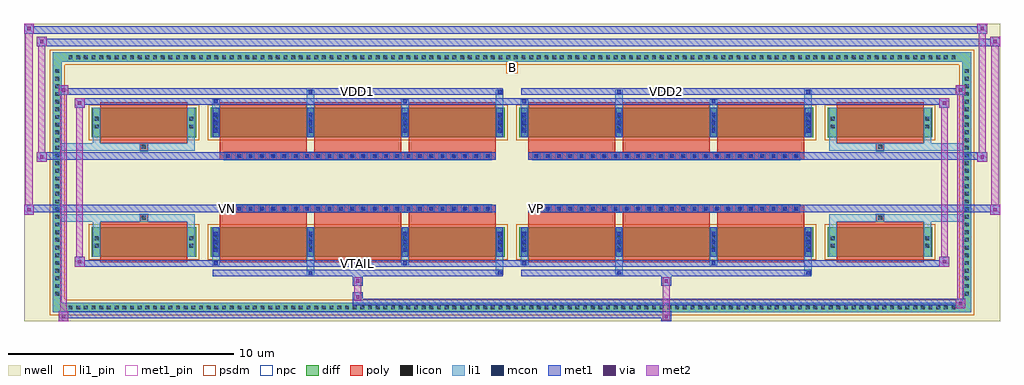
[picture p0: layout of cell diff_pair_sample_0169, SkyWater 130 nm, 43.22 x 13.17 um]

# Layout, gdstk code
import gdstk
lib = gdstk.Library(unit=1e-6, precision=5e-09)
def R(c, l, rs):  # rectangles x0, y0, x1, y1
    for r in rs: c.add(gdstk.rectangle(r[:2], r[2:], *l))
def A(c, l, x, y, w, h, nx, ny, dx, dy):  # array of equal rectangles
    R(c, l, [(x+i*dx, y+j*dy, x+i*dx+w, y+j*dy+h) for i in range(nx) for j in range(ny)])
def P(c, l, *ps):  # polygons
    for p in ps: c.add(gdstk.Polygon(p, *l))
nwell = (64, 20)
diff = (65, 20)
poly = (66, 20)
licon = (66, 44)
li1_pin = (67, 16)
li1 = (67, 20)
mcon = (67, 44)
met1_pin = (68, 16)
met1 = (68, 20)
via = (68, 44)
met2 = (69, 20)
psdm = (94, 20)
npc = (95, 20)

diff_pair_sample_0169 = lib.new_cell('diff_pair_sample_0169')
R(diff_pair_sample_0169, nwell, [(-21.61,-6.15,21.61,7.02), (-18.93,-4.34,-0.01,-0.8), (0.01,-4.34,18.93,-0.8), (-18.93,0.8,-0.01,4.34), (0.01,0.8,18.93,4.34)])
A(diff_pair_sample_0169, diff, -19.755, -5.75, 0.41, 0.41, 116, 2, 0.34, 11.09)
A(diff_pair_sample_0169, diff, -20.34, -5.135, 0.41, 0.41, 1, 30, 0, 0.34)
A(diff_pair_sample_0169, diff, 19.93, -5.135, 0.41, 0.41, 1, 30, 0, 0.34)
R(diff_pair_sample_0169, diff, [(-19.755,-5.75,19.755,-5.34), (-20.34,-5.135,-19.93,5.135), (19.93,-5.135,20.34,5.135), (-18.62,-3.295,-13.98,-1.985), (-13.34,-3.295,-0.32,-1.985), (0.32,-3.295,13.34,-1.985), (13.98,-3.295,18.62,-1.985), (-18.62,1.985,-13.98,3.295), (-13.34,1.985,-0.32,3.295), (0.32,1.985,13.34,3.295), (13.98,1.985,18.62,3.295), (-19.755,5.34,19.755,5.75)])
P(diff_pair_sample_0169, diff, [(20.34,5.75),(-20.34,5.75),(-20.34,-5.34),(-19.93,-5.34),(-19.93,5.34),(19.93,5.34),(19.93,-5.34),(-19.93,-5.34),(-20.34,-5.34),(-20.34,-5.75),(20.34,-5.75)])
A(diff_pair_sample_0169, poly, -12.95, -3.545, 3.86, 1.81, 3, 2, 4.19, 5.28)
A(diff_pair_sample_0169, poly, 0.71, -3.545, 3.86, 1.81, 3, 2, 4.19, 5.28)
A(diff_pair_sample_0169, poly, -12.95, -1.735, 3.86, 0.405, 3, 2, 4.19, 3.065)
A(diff_pair_sample_0169, poly, 0.71, -1.735, 3.86, 0.405, 3, 2, 4.19, 3.065)
A(diff_pair_sample_0169, poly, -12.745, -1.33, 0.33, 0.33, 24, 2, 0.5, 2.33)
A(diff_pair_sample_0169, poly, 0.915, -1.33, 0.33, 0.33, 24, 2, 0.5, 2.33)
R(diff_pair_sample_0169, poly, [(-18.23,-3.545,-14.37,-1.735), (14.37,-3.545,18.23,-1.735), (-16.465,-1.735,-16.135,-1.405), (-16.465,-1.735,-16.135,-1.405), (16.135,-1.735,16.465,-1.405), (16.135,-1.735,16.465,-1.405), (-12.95,-1.33,-0.71,-1), (0.71,-1.33,12.95,-1), (-12.95,1,-0.71,1.33), (0.71,1,12.95,1.33), (-16.465,1.405,-16.135,1.735), (-16.465,1.405,-16.135,1.735), (16.135,1.405,16.465,1.735), (16.135,1.405,16.465,1.735), (-18.23,1.735,-14.37,3.545), (14.37,1.735,18.23,3.545)])
A(diff_pair_sample_0169, licon, -19.635, -5.63, 0.17, 0.17, 116, 2, 0.34, 11.09)
A(diff_pair_sample_0169, licon, -20.22, -5.015, 0.17, 0.17, 1, 30, 0, 0.34)
A(diff_pair_sample_0169, licon, 20.05, -5.015, 0.17, 0.17, 1, 30, 0, 0.34)
A(diff_pair_sample_0169, licon, -13.2, -2.895, 0.17, 0.17, 4, 2, 4.19, 0.34)
A(diff_pair_sample_0169, licon, 0.46, -2.895, 0.17, 0.17, 4, 2, 4.19, 0.34)
A(diff_pair_sample_0169, licon, -12.665, -1.25, 0.17, 0.17, 24, 2, 0.5, 2.33)
A(diff_pair_sample_0169, licon, 0.995, -1.25, 0.17, 0.17, 24, 2, 0.5, 2.33)
A(diff_pair_sample_0169, licon, -13.2, 2.385, 0.17, 0.17, 4, 2, 4.19, 0.34)
A(diff_pair_sample_0169, licon, 0.46, 2.385, 0.17, 0.17, 4, 2, 4.19, 0.34)
R(diff_pair_sample_0169, licon, [(-18.48,-2.895,-18.31,-2.725), (-14.29,-2.895,-14.12,-2.725), (14.12,-2.895,14.29,-2.725), (18.31,-2.895,18.48,-2.725), (-18.48,-2.555,-18.31,-2.385), (-14.29,-2.555,-14.12,-2.385), (14.12,-2.555,14.29,-2.385), (18.31,-2.555,18.48,-2.385), (-16.385,-1.655,-16.215,-1.485), (16.215,-1.655,16.385,-1.485), (-16.385,1.485,-16.215,1.655), (16.215,1.485,16.385,1.655), (-18.48,2.385,-18.31,2.555), (-14.29,2.385,-14.12,2.555), (14.12,2.385,14.29,2.555), (18.31,2.385,18.48,2.555), (-18.48,2.725,-18.31,2.895), (-14.29,2.725,-14.12,2.895), (14.12,2.725,14.29,2.895), (18.31,2.725,18.48,2.895)])
R(diff_pair_sample_0169, li1_pin, [(-0.25,4.84,0.25,5.34)])
A(diff_pair_sample_0169, li1, -19.715, -5.71, 0.33, 0.33, 116, 2, 0.34, 11.09)
A(diff_pair_sample_0169, li1, -20.3, -5.095, 0.33, 0.33, 1, 30, 0, 0.34)
A(diff_pair_sample_0169, li1, 19.97, -5.095, 0.33, 0.33, 1, 30, 0, 0.34)
A(diff_pair_sample_0169, li1, -13.28, -3.295, 0.33, 1.31, 4, 2, 4.19, 5.28)
A(diff_pair_sample_0169, li1, 0.38, -3.295, 0.33, 1.31, 4, 2, 4.19, 5.28)
A(diff_pair_sample_0169, li1, -13.2, -3.085, 0.17, 0.17, 4, 3, 4.19, 0.36)
A(diff_pair_sample_0169, li1, -13.2, -3.085, 0.17, 0.89, 4, 2, 4.19, 5.28)
A(diff_pair_sample_0169, li1, 0.46, -3.085, 0.17, 0.17, 4, 3, 4.19, 0.36)
A(diff_pair_sample_0169, li1, 0.46, -3.085, 0.17, 0.89, 4, 2, 4.19, 5.28)
A(diff_pair_sample_0169, li1, -13.28, -2.975, 0.33, 0.33, 4, 2, 4.19, 0.34)
A(diff_pair_sample_0169, li1, 0.38, -2.975, 0.33, 0.33, 4, 2, 4.19, 0.34)
A(diff_pair_sample_0169, li1, -12.745, -1.33, 0.33, 0.33, 24, 2, 0.5, 2.33)
A(diff_pair_sample_0169, li1, 0.915, -1.33, 0.33, 0.33, 24, 2, 0.5, 2.33)
A(diff_pair_sample_0169, li1, -13.2, 2.195, 0.17, 0.17, 4, 3, 4.19, 0.36)
A(diff_pair_sample_0169, li1, 0.46, 2.195, 0.17, 0.17, 4, 3, 4.19, 0.36)
A(diff_pair_sample_0169, li1, -13.28, 2.305, 0.33, 0.33, 4, 2, 4.19, 0.34)
A(diff_pair_sample_0169, li1, 0.38, 2.305, 0.33, 0.33, 4, 2, 4.19, 0.34)
R(diff_pair_sample_0169, li1, [(-20.34,-5.75,-19.93,-5.34), (-20.34,-5.75,-19.93,-5.34), (-19.93,-5.75,19.93,-5.34), (19.93,-5.75,20.34,-5.34), (19.93,-5.75,20.34,-5.34), (-20.34,-5.34,-19.93,5.34), (19.93,-5.34,20.34,5.34), (-9.09,-4.1,-8.76,-3.295), (-9.01,-4.1,-8.84,-3.93), (-0.71,-4.1,-0.38,-3.295), (-0.63,-4.1,-0.46,-3.93), (4.57,-4.1,4.9,-3.295), (4.65,-4.1,4.82,-3.93), (12.95,-4.1,13.28,-3.295), (13.03,-4.1,13.2,-3.93), (-13.28,-3.67,-12.95,-3.295), (-13.2,-3.67,-13.03,-3.5), (-4.9,-3.67,-4.57,-3.295), (-4.82,-3.67,-4.65,-3.5), (0.38,-3.67,0.71,-3.295), (0.46,-3.67,0.63,-3.5), (8.76,-3.67,9.09,-3.295), (8.84,-3.67,9.01,-3.5), (-18.56,-3.295,-18.23,-1.985), (-14.37,-3.295,-14.04,-1.985), (14.04,-3.295,14.37,-1.985), (18.23,-3.295,18.56,-1.985), (-18.56,-2.975,-18.23,-2.645), (-14.37,-2.975,-14.04,-2.645), (14.04,-2.975,14.37,-2.645), (18.23,-2.975,18.56,-2.645), (-18.56,-2.635,-18.23,-2.305), (-14.37,-2.635,-14.04,-2.305), (14.04,-2.635,14.37,-2.305), (18.23,-2.635,18.56,-2.305), (-18.56,-1.985,-18.23,-1.405), (-14.37,-1.985,-14.04,-1.405), (14.04,-1.985,14.37,-1.405), (18.23,-1.985,18.56,-1.405), (-20.34,-1.735,-16.465,-1.405), (-18.56,-1.735,-16.465,-1.405), (-16.465,-1.735,-16.135,-1.405), (-16.135,-1.735,-14.04,-1.405), (14.04,-1.735,16.135,-1.405), (16.135,-1.735,16.465,-1.405), (16.135,-1.735,20.34,-1.405), (16.465,-1.735,18.56,-1.405), (-20.34,1.405,-16.465,1.735), (-18.56,1.405,-16.465,1.735), (-18.56,1.405,-18.23,1.985), (-16.465,1.405,-16.135,1.735), (-16.135,1.405,-14.04,1.735), (-14.37,1.405,-14.04,1.985), (14.04,1.405,16.135,1.735), (14.04,1.405,14.37,1.985), (16.135,1.405,16.465,1.735), (16.135,1.405,20.34,1.735), (16.465,1.405,18.56,1.735), (18.23,1.405,18.56,1.985), (-18.56,1.985,-18.23,3.295), (-14.37,1.985,-14.04,3.295), (14.04,1.985,14.37,3.295), (18.23,1.985,18.56,3.295), (-18.56,2.305,-18.23,2.635), (-14.37,2.305,-14.04,2.635), (14.04,2.305,14.37,2.635), (18.23,2.305,18.56,2.635), (-18.56,2.645,-18.23,2.975), (-14.37,2.645,-14.04,2.975), (14.04,2.645,14.37,2.975), (18.23,2.645,18.56,2.975), (-13.28,3.295,-12.95,3.67), (-9.09,3.295,-8.76,4.1), (-4.9,3.295,-4.57,3.67), (-0.71,3.295,-0.38,4.1), (0.38,3.295,0.71,3.67), (4.57,3.295,4.9,4.1), (8.76,3.295,9.09,3.67), (12.95,3.295,13.28,4.1), (-13.2,3.5,-13.03,3.67), (-4.82,3.5,-4.65,3.67), (0.46,3.5,0.63,3.67), (8.84,3.5,9.01,3.67), (-9.01,3.93,-8.84,4.1), (-0.63,3.93,-0.46,4.1), (4.65,3.93,4.82,4.1), (13.03,3.93,13.2,4.1), (-20.34,5.34,-19.93,5.75), (-20.34,5.34,-19.93,5.75), (-19.93,5.34,19.93,5.75), (19.93,5.34,20.34,5.75), (19.93,5.34,20.34,5.75)])
A(diff_pair_sample_0169, mcon, -13.2, -3.085, 0.17, 0.17, 4, 3, 4.19, 0.36)
A(diff_pair_sample_0169, mcon, 0.46, -3.085, 0.17, 0.17, 4, 3, 4.19, 0.36)
A(diff_pair_sample_0169, mcon, -12.665, -1.25, 0.17, 0.17, 24, 2, 0.5, 2.33)
A(diff_pair_sample_0169, mcon, 0.995, -1.25, 0.17, 0.17, 24, 2, 0.5, 2.33)
A(diff_pair_sample_0169, mcon, -13.2, 2.195, 0.17, 0.17, 4, 3, 4.19, 0.36)
A(diff_pair_sample_0169, mcon, 0.46, 2.195, 0.17, 0.17, 4, 3, 4.19, 0.36)
R(diff_pair_sample_0169, mcon, [(-9.01,-4.1,-8.84,-3.93), (-0.63,-4.1,-0.46,-3.93), (4.65,-4.1,4.82,-3.93), (13.03,-4.1,13.2,-3.93), (-13.2,-3.67,-13.03,-3.5), (-4.82,-3.67,-4.65,-3.5), (0.46,-3.67,0.63,-3.5), (8.84,-3.67,9.01,-3.5), (-13.2,3.5,-13.03,3.67), (-4.82,3.5,-4.65,3.67), (0.46,3.5,0.63,3.67), (8.84,3.5,9.01,3.67), (-9.01,3.93,-8.84,4.1), (-0.63,3.93,-0.46,4.1), (4.65,3.93,4.82,4.1), (13.03,3.93,13.2,4.1)])
R(diff_pair_sample_0169, met1_pin, [(-6.965,-3.71,-6.695,-3.44), (-12.715,-1.29,-12.445,-1.02), (0.945,-1.29,1.215,-1.02), (-6.965,3.89,-6.695,4.16), (6.695,3.89,6.965,4.16)])
A(diff_pair_sample_0169, met1, -13.26, -3.295, 0.29, 1.31, 4, 2, 4.19, 5.28)
A(diff_pair_sample_0169, met1, 0.4, -3.295, 0.29, 1.31, 4, 2, 4.19, 5.28)
A(diff_pair_sample_0169, met1, -13.26, -3.145, 0.29, 0.29, 4, 3, 4.19, 0.36)
A(diff_pair_sample_0169, met1, 0.4, -3.145, 0.29, 0.29, 4, 3, 4.19, 0.36)
A(diff_pair_sample_0169, met1, -12.725, -1.31, 0.29, 0.29, 24, 2, 0.5, 2.33)
A(diff_pair_sample_0169, met1, 0.935, -1.31, 0.29, 0.29, 24, 2, 0.5, 2.33)
A(diff_pair_sample_0169, met1, -13.26, 2.135, 0.29, 0.29, 4, 3, 4.19, 0.36)
A(diff_pair_sample_0169, met1, 0.4, 2.135, 0.29, 0.29, 4, 3, 4.19, 0.36)
R(diff_pair_sample_0169, met1, [(-20.07,-6.15,-19.64,-5.72), (6.615,-6.15,7.045,-5.72), (-20.07,-6.01,7.045,-5.72), (19.64,-5.58,20.07,-5.15), (-7.045,-5.44,20.07,-5.15), (-7.045,-5.3,-6.615,-4.87), (-7.045,-4.59,-6.615,-4.16), (6.615,-4.59,7.045,-4.16), (-13.26,-4.16,-0.4,-3.87), (-9.07,-4.16,-8.78,-3.87), (-0.69,-4.16,-0.4,-3.87), (0.4,-4.16,13.26,-3.87), (4.59,-4.16,4.88,-3.87), (12.97,-4.16,13.26,-3.87), (-19.36,-3.73,-18.93,-3.3), (-19.36,-3.73,-13.26,-3.44), (-13.26,-3.73,-12.97,-3.44), (-13.26,-3.73,-0.4,-3.44), (-4.88,-3.73,-4.59,-3.44), (-0.4,-3.73,0.4,-3.44), (0.4,-3.73,0.69,-3.44), (0.4,-3.73,13.26,-3.44), (8.78,-3.73,9.07,-3.44), (13.26,-3.73,19.36,-3.44), (18.93,-3.73,19.36,-3.3), (-21.61,-1.43,-21.18,-1), (21.18,-1.43,21.61,-1), (-21.61,-1.33,-0.71,-1), (-12.95,-1.33,-0.71,-1), (0.71,-1.33,12.95,-1), (0.71,-1.33,21.61,-1), (-21.04,0.9,-20.61,1.33), (20.61,0.9,21.04,1.33), (-21.04,1,-12.95,1.33), (-12.95,1,-0.71,1.33), (0.71,1,12.95,1.33), (12.95,1,21.04,1.33), (-19.36,3.3,-18.93,3.73), (18.93,3.3,19.36,3.73), (-19.36,3.44,-13.26,3.73), (-13.26,3.44,-12.97,3.73), (-13.26,3.44,-0.4,3.73), (-4.88,3.44,-4.59,3.73), (-0.4,3.44,0.4,3.73), (0.4,3.44,0.69,3.73), (0.4,3.44,13.26,3.73), (8.78,3.44,9.07,3.73), (13.26,3.44,19.36,3.73), (-20.07,3.87,-19.64,4.3), (-20.07,3.87,-13.26,4.16), (-13.26,3.87,-0.4,4.16), (-9.07,3.87,-8.78,4.16), (-0.69,3.87,-0.4,4.16), (0.4,3.87,13.26,4.16), (4.59,3.87,4.88,4.16), (12.97,3.87,13.26,4.16), (13.26,3.87,20.07,4.16), (19.64,3.87,20.07,4.3), (-21.04,6.02,-20.61,6.45), (-21.04,6.02,-18.93,6.35), (-18.93,6.02,18.93,6.35), (18.93,6.02,21.61,6.35), (21.18,6.02,21.61,6.45), (-21.61,6.59,-21.18,7.02), (-21.61,6.59,-18.93,6.92), (-18.93,6.59,18.93,6.92), (18.93,6.59,21.04,6.92), (20.61,6.59,21.04,7.02)])
R(diff_pair_sample_0169, via, [(-19.93,-6.01,-19.78,-5.86), (6.755,-6.01,6.905,-5.86), (19.78,-5.44,19.93,-5.29), (-6.905,-5.16,-6.755,-5.01), (-6.905,-4.45,-6.755,-4.3), (6.755,-4.45,6.905,-4.3), (-19.22,-3.59,-19.07,-3.44), (19.07,-3.59,19.22,-3.44), (-21.47,-1.29,-21.32,-1.14), (21.32,-1.29,21.47,-1.14), (-20.9,1.04,-20.75,1.19), (20.75,1.04,20.9,1.19), (-19.22,3.44,-19.07,3.59), (19.07,3.44,19.22,3.59), (-19.93,4.01,-19.78,4.16), (19.78,4.01,19.93,4.16), (-20.9,6.16,-20.75,6.31), (21.32,6.16,21.47,6.31), (-21.47,6.73,-21.32,6.88), (20.75,6.73,20.9,6.88)])
R(diff_pair_sample_0169, met2, [(-20.07,-6.15,-19.64,-5.72), (-20,-6.15,-19.71,4.3), (-19.71,-6.15,-19.64,-5.72), (-20.02,-6.1,-19.69,-5.77), (6.665,-6.1,6.995,-5.77), (6.665,-5.77,6.995,-4.54), (19.64,-5.58,20.07,-5.15), (19.71,-5.58,20,4.3), (20,-5.58,20.07,-5.15), (19.69,-5.53,20.02,-5.2), (-6.995,-5.25,-6.665,-4.92), (-6.995,-4.92,-6.665,-4.54), (-6.995,-4.54,-6.665,-4.21), (6.665,-4.54,6.995,-4.21), (-19.36,-3.73,-18.93,-3.3), (-19.29,-3.73,-19,3.73), (-19,-3.73,-18.93,-3.3), (18.93,-3.73,19.36,-3.3), (19,-3.73,19.29,3.73), (19.29,-3.73,19.36,-3.3), (-19.31,-3.68,-18.98,-3.35), (18.98,-3.68,19.31,-3.35), (-21.61,-1.43,-21.18,-1), (-21.56,-1.43,-21.23,7.02), (-21.23,-1.43,-21.18,-1), (21.18,-1.43,21.61,-1), (21.23,-1.43,21.56,6.45), (21.56,-1.43,21.61,-1), (-21.56,-1.38,-21.23,-1.05), (21.23,-1.38,21.56,-1.05), (-21.04,0.9,-20.61,1.33), (-20.99,0.9,-20.66,6.45), (-20.66,0.9,-20.61,1.33), (20.61,0.9,21.04,1.33), (20.66,0.9,20.99,7.02), (20.99,0.9,21.04,1.33), (-20.99,0.95,-20.66,1.28), (20.66,0.95,20.99,1.28), (-19.36,3.3,-18.93,3.73), (-19,3.3,-18.93,3.73), (18.93,3.3,19.36,3.73), (19.29,3.3,19.36,3.73), (-19.31,3.35,-18.98,3.68), (18.98,3.35,19.31,3.68), (-20.07,3.87,-19.64,4.3), (-19.71,3.87,-19.64,4.3), (19.64,3.87,20.07,4.3), (20,3.87,20.07,4.3), (-20.02,3.92,-19.69,4.25), (19.69,3.92,20.02,4.25), (-21.04,6.02,-20.61,6.45), (-20.66,6.02,-20.61,6.45), (21.18,6.02,21.61,6.45), (21.56,6.02,21.61,6.45), (-20.99,6.07,-20.66,6.4), (21.23,6.07,21.56,6.4), (-21.61,6.59,-21.18,7.02), (-21.23,6.59,-21.18,7.02), (20.61,6.59,21.04,7.02), (20.99,6.59,21.04,7.02), (-21.56,6.64,-21.23,6.97), (20.66,6.64,20.99,6.97)])
R(diff_pair_sample_0169, psdm, [(-18.75,-3.425,-13.85,-1.855), (-13.47,-3.425,-0.19,-1.855), (0.19,-3.425,13.47,-1.855), (13.85,-3.425,18.75,-1.855), (-18.75,1.855,-13.85,3.425), (-13.47,1.855,-0.19,3.425), (0.19,1.855,13.47,3.425), (13.85,1.855,18.75,3.425)])
P(diff_pair_sample_0169, psdm, [(20.47,5.88),(-20.47,5.88),(-20.47,-5.21),(-19.8,-5.21),(-19.8,5.21),(19.8,5.21),(19.8,-5.21),(-19.8,-5.21),(-20.47,-5.21),(-20.47,-5.88),(20.47,-5.88)])
A(diff_pair_sample_0169, npc, -12.765, -1.35, 0.37, 0.37, 24, 2, 0.5, 2.33)
A(diff_pair_sample_0169, npc, 0.895, -1.35, 0.37, 0.37, 24, 2, 0.5, 2.33)
R(diff_pair_sample_0169, npc, [(-16.485,-1.755,-16.115,-1.385), (16.115,-1.755,16.485,-1.385), (-12.765,-1.35,-11.895,-0.98), (-12.765,-1.35,-11.895,-0.98), (-12.265,-1.35,-11.395,-0.98), (-12.265,-1.35,-11.395,-0.98), (-11.765,-1.35,-10.895,-0.98), (-11.765,-1.35,-10.895,-0.98), (-11.265,-1.35,-10.395,-0.98), (-11.265,-1.35,-10.395,-0.98), (-10.765,-1.35,-9.895,-0.98), (-10.765,-1.35,-9.895,-0.98), (-10.265,-1.35,-9.395,-0.98), (-10.265,-1.35,-9.395,-0.98), (-9.765,-1.35,-8.895,-0.98), (-9.765,-1.35,-8.895,-0.98), (-9.265,-1.35,-8.395,-0.98), (-9.265,-1.35,-8.395,-0.98), (-8.765,-1.35,-7.895,-0.98), (-8.765,-1.35,-7.895,-0.98), (-8.265,-1.35,-7.395,-0.98), (-8.265,-1.35,-7.395,-0.98), (-7.765,-1.35,-6.895,-0.98), (-7.765,-1.35,-6.895,-0.98), (-7.265,-1.35,-6.395,-0.98), (-7.265,-1.35,-6.395,-0.98), (-6.765,-1.35,-5.895,-0.98), (-6.765,-1.35,-5.895,-0.98), (-6.265,-1.35,-5.395,-0.98), (-6.265,-1.35,-5.395,-0.98), (-5.765,-1.35,-4.895,-0.98), (-5.765,-1.35,-4.895,-0.98), (-5.265,-1.35,-4.395,-0.98), (-5.265,-1.35,-4.395,-0.98), (-4.765,-1.35,-3.895,-0.98), (-4.765,-1.35,-3.895,-0.98), (-4.265,-1.35,-3.395,-0.98), (-4.265,-1.35,-3.395,-0.98), (-3.765,-1.35,-2.895,-0.98), (-3.765,-1.35,-2.895,-0.98), (-3.265,-1.35,-2.395,-0.98), (-3.265,-1.35,-2.395,-0.98), (-2.765,-1.35,-1.895,-0.98), (-2.765,-1.35,-1.895,-0.98), (-2.265,-1.35,-1.395,-0.98), (-2.265,-1.35,-1.395,-0.98), (-1.765,-1.35,-0.895,-0.98), (-1.765,-1.35,-0.895,-0.98), (0.895,-1.35,1.765,-0.98), (0.895,-1.35,1.765,-0.98), (1.395,-1.35,2.265,-0.98), (1.395,-1.35,2.265,-0.98), (1.895,-1.35,2.765,-0.98), (1.895,-1.35,2.765,-0.98), (2.395,-1.35,3.265,-0.98), (2.395,-1.35,3.265,-0.98), (2.895,-1.35,3.765,-0.98), (2.895,-1.35,3.765,-0.98), (3.395,-1.35,4.265,-0.98), (3.395,-1.35,4.265,-0.98), (3.895,-1.35,4.765,-0.98), (3.895,-1.35,4.765,-0.98), (4.395,-1.35,5.265,-0.98), (4.395,-1.35,5.265,-0.98), (4.895,-1.35,5.765,-0.98), (4.895,-1.35,5.765,-0.98), (5.395,-1.35,6.265,-0.98), (5.395,-1.35,6.265,-0.98), (5.895,-1.35,6.765,-0.98), (5.895,-1.35,6.765,-0.98), (6.395,-1.35,7.265,-0.98), (6.395,-1.35,7.265,-0.98), (6.895,-1.35,7.765,-0.98), (6.895,-1.35,7.765,-0.98), (7.395,-1.35,8.265,-0.98), (7.395,-1.35,8.265,-0.98), (7.895,-1.35,8.765,-0.98), (7.895,-1.35,8.765,-0.98), (8.395,-1.35,9.265,-0.98), (8.395,-1.35,9.265,-0.98), (8.895,-1.35,9.765,-0.98), (8.895,-1.35,9.765,-0.98), (9.395,-1.35,10.265,-0.98), (9.395,-1.35,10.265,-0.98), (9.895,-1.35,10.765,-0.98), (9.895,-1.35,10.765,-0.98), (10.395,-1.35,11.265,-0.98), (10.395,-1.35,11.265,-0.98), (10.895,-1.35,11.765,-0.98), (10.895,-1.35,11.765,-0.98), (11.395,-1.35,12.265,-0.98), (11.395,-1.35,12.265,-0.98), (11.895,-1.35,12.765,-0.98), (11.895,-1.35,12.765,-0.98), (-12.765,0.98,-11.895,1.35), (-12.765,0.98,-11.895,1.35), (-12.265,0.98,-11.395,1.35), (-12.265,0.98,-11.395,1.35), (-11.765,0.98,-10.895,1.35), (-11.765,0.98,-10.895,1.35), (-11.265,0.98,-10.395,1.35), (-11.265,0.98,-10.395,1.35), (-10.765,0.98,-9.895,1.35), (-10.765,0.98,-9.895,1.35), (-10.265,0.98,-9.395,1.35), (-10.265,0.98,-9.395,1.35), (-9.765,0.98,-8.895,1.35), (-9.765,0.98,-8.895,1.35), (-9.265,0.98,-8.395,1.35), (-9.265,0.98,-8.395,1.35), (-8.765,0.98,-7.895,1.35), (-8.765,0.98,-7.895,1.35), (-8.265,0.98,-7.395,1.35), (-8.265,0.98,-7.395,1.35), (-7.765,0.98,-6.895,1.35), (-7.765,0.98,-6.895,1.35), (-7.265,0.98,-6.395,1.35), (-7.265,0.98,-6.395,1.35), (-6.765,0.98,-5.895,1.35), (-6.765,0.98,-5.895,1.35), (-6.265,0.98,-5.395,1.35), (-6.265,0.98,-5.395,1.35), (-5.765,0.98,-4.895,1.35), (-5.765,0.98,-4.895,1.35), (-5.265,0.98,-4.395,1.35), (-5.265,0.98,-4.395,1.35), (-4.765,0.98,-3.895,1.35), (-4.765,0.98,-3.895,1.35), (-4.265,0.98,-3.395,1.35), (-4.265,0.98,-3.395,1.35), (-3.765,0.98,-2.895,1.35), (-3.765,0.98,-2.895,1.35), (-3.265,0.98,-2.395,1.35), (-3.265,0.98,-2.395,1.35), (-2.765,0.98,-1.895,1.35), (-2.765,0.98,-1.895,1.35), (-2.265,0.98,-1.395,1.35), (-2.265,0.98,-1.395,1.35), (-1.765,0.98,-0.895,1.35), (-1.765,0.98,-0.895,1.35), (0.895,0.98,1.765,1.35), (0.895,0.98,1.765,1.35), (1.395,0.98,2.265,1.35), (1.395,0.98,2.265,1.35), (1.895,0.98,2.765,1.35), (1.895,0.98,2.765,1.35), (2.395,0.98,3.265,1.35), (2.395,0.98,3.265,1.35), (2.895,0.98,3.765,1.35), (2.895,0.98,3.765,1.35), (3.395,0.98,4.265,1.35), (3.395,0.98,4.265,1.35), (3.895,0.98,4.765,1.35), (3.895,0.98,4.765,1.35), (4.395,0.98,5.265,1.35), (4.395,0.98,5.265,1.35), (4.895,0.98,5.765,1.35), (4.895,0.98,5.765,1.35), (5.395,0.98,6.265,1.35), (5.395,0.98,6.265,1.35), (5.895,0.98,6.765,1.35), (5.895,0.98,6.765,1.35), (6.395,0.98,7.265,1.35), (6.395,0.98,7.265,1.35), (6.895,0.98,7.765,1.35), (6.895,0.98,7.765,1.35), (7.395,0.98,8.265,1.35), (7.395,0.98,8.265,1.35), (7.895,0.98,8.765,1.35), (7.895,0.98,8.765,1.35), (8.395,0.98,9.265,1.35), (8.395,0.98,9.265,1.35), (8.895,0.98,9.765,1.35), (8.895,0.98,9.765,1.35), (9.395,0.98,10.265,1.35), (9.395,0.98,10.265,1.35), (9.895,0.98,10.765,1.35), (9.895,0.98,10.765,1.35), (10.395,0.98,11.265,1.35), (10.395,0.98,11.265,1.35), (10.895,0.98,11.765,1.35), (10.895,0.98,11.765,1.35), (11.395,0.98,12.265,1.35), (11.395,0.98,12.265,1.35), (11.895,0.98,12.765,1.35), (11.895,0.98,12.765,1.35), (-16.485,1.385,-16.115,1.755), (16.115,1.385,16.485,1.755)])
diff_pair_sample_0169.add(gdstk.Label('VTAIL', (-6.83,-3.575), layer=68, texttype=5))
diff_pair_sample_0169.add(gdstk.Label('VN', (-12.58,-1.155), layer=68, texttype=5))
diff_pair_sample_0169.add(gdstk.Label('VP', (1.08,-1.155), layer=68, texttype=5))
diff_pair_sample_0169.add(gdstk.Label('B', (0,5.09), layer=67, texttype=5))
diff_pair_sample_0169.add(gdstk.Label('VDD2', (6.83,4.025), layer=68, texttype=5))
diff_pair_sample_0169.add(gdstk.Label('VDD1', (-6.83,4.025), layer=68, texttype=5))

lib.write_gds('diff_pair_sample_0169.gds')
